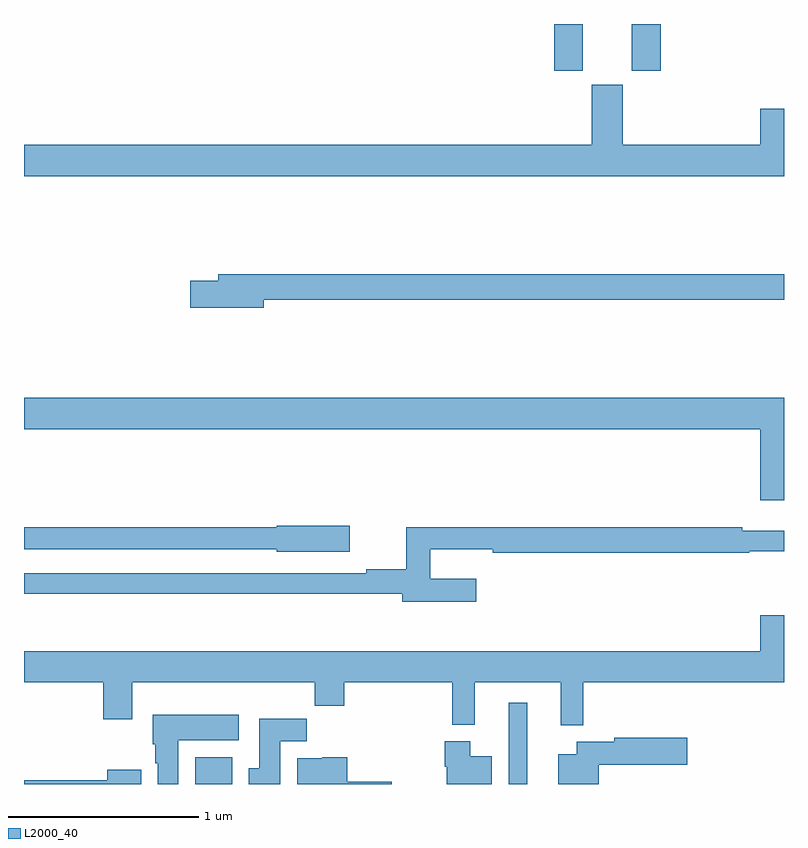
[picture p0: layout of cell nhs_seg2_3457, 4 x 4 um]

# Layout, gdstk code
import gdstk
lib = gdstk.Library(unit=1e-6, precision=1e-09)
def R(c, l, rs):  # rectangles x0, y0, x1, y1
    for r in rs: c.add(gdstk.rectangle(r[:2], r[2:], *l))
def P(c, l, *ps):  # polygons
    for p in ps: c.add(gdstk.Polygon(p, *l))
L2000_40 = (2000, 40)

nhs_seg2_3457 = lib.new_cell('nhs_seg2_3457')
R(nhs_seg2_3457, L2000_40, [(293.9,613.8,294.097,613.942), (295.551,613.8,295.648,614.227), (295.79,617.553,295.942,617.8), (296.198,617.553,296.351,617.8)])
P(nhs_seg2_3457, L2000_40, [(297,617.353),(296.876,617.353),(296.876,617.164),(296.152,617.164),(296.152,617.481),(295.988,617.481),(295.988,617.164),(293,617.164),(293,617),(297,617)],
  [(294.262,616.348),(297,616.348),(297,616.484),(294.023,616.484),(294.023,616.448),(293.874,616.448),(293.874,616.306),(294.262,616.306)],
  [(297,615.832),(293,615.832),(293,615.668),(296.876,615.668),(296.876,615.294),(297,615.294)],
  [(294.715,615.158),(294.33,615.158),(294.33,615.152),(293,615.152),(293,615.036),(294.33,615.036),(294.33,615.023),(294.715,615.023)],
  [(295.381,614.881),(295.139,614.881),(295.139,615.035),(295.468,615.035),(295.468,615.016),(296.816,615.016),(296.816,615.024),(297,615.024),(297,615.133),(296.78,615.133),(296.78,615.152),(295.011,615.152),(295.011,614.93),(294.802,614.93),(294.802,614.91),(293,614.91),(293,614.802),(294.992,614.802),(294.992,614.759),(295.381,614.759)],
  [(295.943,614.336),(297,614.336),(297,614.689),(296.876,614.689),(296.876,614.5),(293,614.5),(293,614.336),(293.417,614.336),(293.417,614.142),(293.569,614.142),(293.569,614.336),(294.529,614.336),(294.529,614.212),(294.686,614.212),(294.686,614.336),(295.255,614.336),(295.255,614.111),(295.373,614.111),(295.373,614.336),(295.826,614.336),(295.826,614.108),(295.943,614.108)],
  [(293.812,614.03),(294.13,614.03),(294.13,614.164),(293.678,614.164),(293.678,614.01),(293.69,614.01),(293.69,613.91),(293.705,613.91),(293.705,613.8),(293.812,613.8)],
  [(294.349,614.024),(294.488,614.024),(294.488,614.143),(294.239,614.143),(294.239,613.884),(294.182,613.884),(294.182,613.8),(294.349,613.8)],
  [(296.026,613.901),(296.491,613.901),(296.491,614.043),(296.106,614.043),(296.106,614.023),(295.91,614.023),(295.91,613.957),(295.811,613.957),(295.811,613.8),(296.026,613.8)],
  [(295.462,613.945),(295.348,613.945),(295.348,614.026),(295.214,614.026),(295.214,613.89),(295.226,613.89),(295.226,613.8),(295.462,613.8)],
  [(294.936,613.813),(294.701,613.813),(294.701,613.942),(294.57,613.942),(294.57,613.936),(294.437,613.936),(294.437,613.8),(294.936,613.8)],
  [(293.617,613.876),(293.438,613.876),(293.438,613.82),(293,613.82),(293,613.8),(293.617,613.8)])

lib.write_gds('nhs_seg2_3457.gds')
